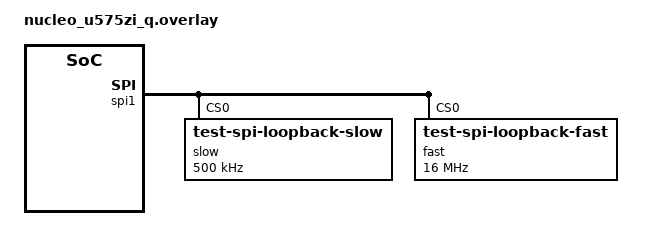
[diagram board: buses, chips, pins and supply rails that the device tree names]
/*
 * Copyright (c) 2022 Thomas Stranger
 *
 * SPDX-License-Identifier: Apache-2.0
 */

&rcc {
	apb2-prescaler = <2>;
};

&spi1 {
	dmas = <&gpdma1 0 7 STM32_DMA_PERIPH_TX
		&gpdma1 1 6 STM32_DMA_PERIPH_RX>;
	dma-names = "tx", "rx";
	slow@0 {
		compatible = "test-spi-loopback-slow";
		reg = <0>;
		spi-max-frequency = <DT_FREQ_K(500)>;
	};
	fast@0 {
		compatible = "test-spi-loopback-fast";
		reg = <0>;
		spi-max-frequency = <DT_FREQ_M(16)>;
	};
};
